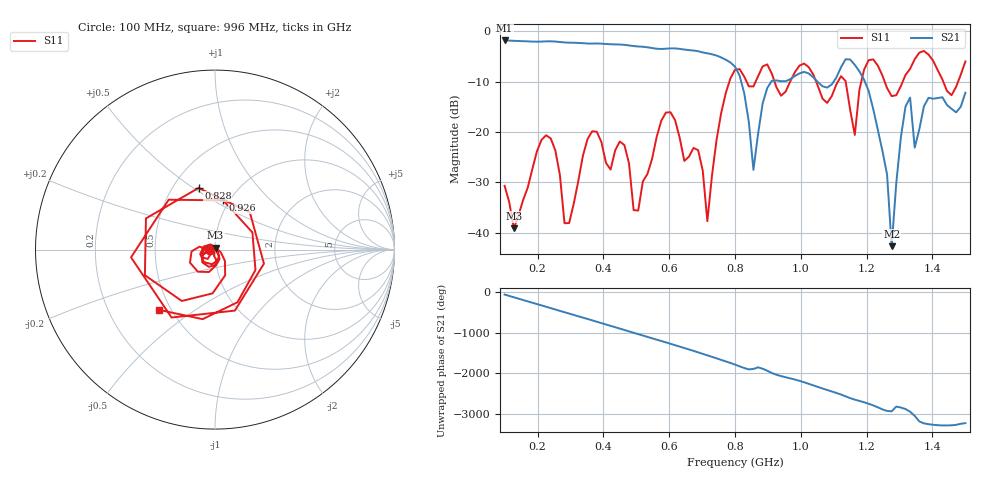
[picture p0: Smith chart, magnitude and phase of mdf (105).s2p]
! NanoVNA-App
! Date: 2025-09-25 17:41:47
! Start: 100MHz Stop: 1,5GHz Points: 101
! S-Parameter data: F S11 S21 S12 S22
# Hz S RI R 50
!  Frequency  S11_Real  S11_Imag  S21_Real  S21_Imag  S12_Real  S12_Imag  S22_Real  S22_Imag
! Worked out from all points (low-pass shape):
!   101 points, 100 MHz to 1.5 GHz, reference 50 ohm
!   highest |S21| = -1.80 dB at 100 MHz (marker M1); lowest = -42.7 dB at 1.276 GHz (marker M2)
!   |S21| within 3 dB of the highest: start of sweep to 743.8 MHz
!   lowest |S11| = -39.1 dB at 128 MHz (marker M3), VSWR 1.02, Z = 50.3 + j1.06 ohm
!   |S11| at or under -10 dB: start of sweep to 782.9 MHz; 1.047 GHz to 1.113 GHz (66.05 MHz wide, 6.12 % of centre); 1.255 GHz to 1.31 GHz (54.7 MHz wide, 4.27 % of centre)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
!   S12 and S22 are empty: the file has one direction only
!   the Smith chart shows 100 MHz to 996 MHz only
!   S11 on the Smith chart (normalised r, x): 100 MHz: 0.94, -0.01; 828 MHz: 0.67, +0.52; 926 MHz: 0.94, +0.56; 996 MHz: 0.43, -0.37
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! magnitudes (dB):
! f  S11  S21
! 100 MHz  -30.7  -1.8
! 128 MHz  -39.1  -1.9
! 212 MHz  -21.6  -2.0
! 282 MHz  -38.1  -2.2
! 338 MHz  -24.7  -2.3
! 464 MHz  -22.6  -2.7
! 506 MHz  -35.6  -3.0
! 576 MHz  -17.8  -3.5
! 688 MHz  -23.6  -3.9
! 716 MHz  -37.7  -4.4
! 800 MHz  -7.6  -7.0
! 828 MHz  -9.0  -12.3
! 856 MHz  -10.9  -27.5
! 926 MHz  -11.1  -9.7
! 996 MHz  -6.8  -8.3
! 1.038 GHz  -8.6  -9.1
! 1.164 GHz  -20.6  -6.7
! 1.192 GHz  -7.6  -9.6
! 1.262 GHz  -11.3  -28.4
! 1.276 GHz  -12.9  -42.7
! 1.318 GHz  -8.7  -14.9
! 1.5 GHz  -6.0  -12.2
